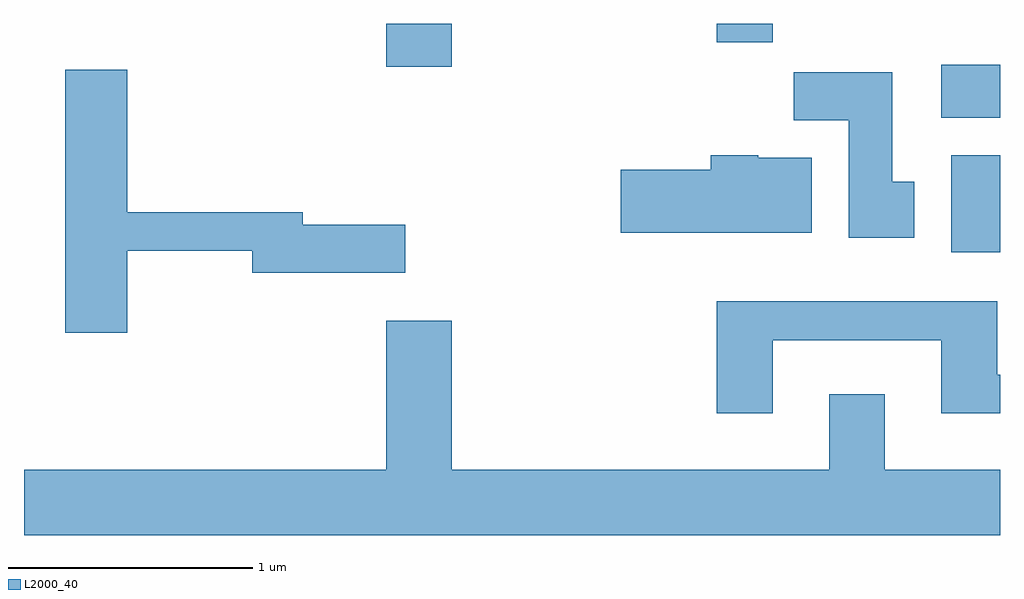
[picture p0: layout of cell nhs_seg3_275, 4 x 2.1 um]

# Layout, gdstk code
import gdstk
lib = gdstk.Library(unit=1e-6, precision=1e-09)
def R(c, l, rs):  # rectangles x0, y0, x1, y1
    for r in rs: c.add(gdstk.rectangle(r[:2], r[2:], *l))
def P(c, l, *ps):  # polygons
    for p in ps: c.add(gdstk.Polygon(p, *l))
L2000_40 = (2000, 40)

nhs_seg3_275 = lib.new_cell('nhs_seg3_275')
R(nhs_seg3_275, L2000_40, [(197.411,1124.956,197.611,1125.354), (197.371,1125.506,197.611,1125.724), (195.096,1125.716,195.364,1125.892), (196.451,1125.816,196.679,1125.892)])
P(nhs_seg3_275, L2000_40, [(194.034,1124.961),(194.546,1124.961),(194.546,1124.871),(195.174,1124.871),(195.174,1125.069),(194.754,1125.069),(194.754,1125.119),(194.034,1125.119),(194.034,1125.704),(193.781,1125.704),(193.781,1124.626),(194.034,1124.626)],
  [(197.259,1125.244),(197.169,1125.244),(197.169,1125.694),(196.766,1125.694),(196.766,1125.496),(196.991,1125.496),(196.991,1125.016),(197.259,1125.016)],
  [(196.839,1125.344),(196.62,1125.344),(196.62,1125.354),(196.426,1125.354),(196.426,1125.294),(196.056,1125.294),(196.056,1125.036),(196.839,1125.036)],
  [(196.679,1124.596),(197.371,1124.596),(197.371,1124.296),(197.611,1124.296),(197.611,1124.454),(197.599,1124.454),(197.599,1124.754),(196.451,1124.754),(196.451,1124.296),(196.679,1124.296)],
  [(197.611,1124.064),(197.139,1124.064),(197.139,1124.374),(196.911,1124.374),(196.911,1124.064),(195.364,1124.064),(195.364,1124.674),(195.096,1124.674),(195.096,1124.064),(193.611,1124.064),(193.611,1123.796),(197.611,1123.796)])

lib.write_gds('nhs_seg3_275.gds')
